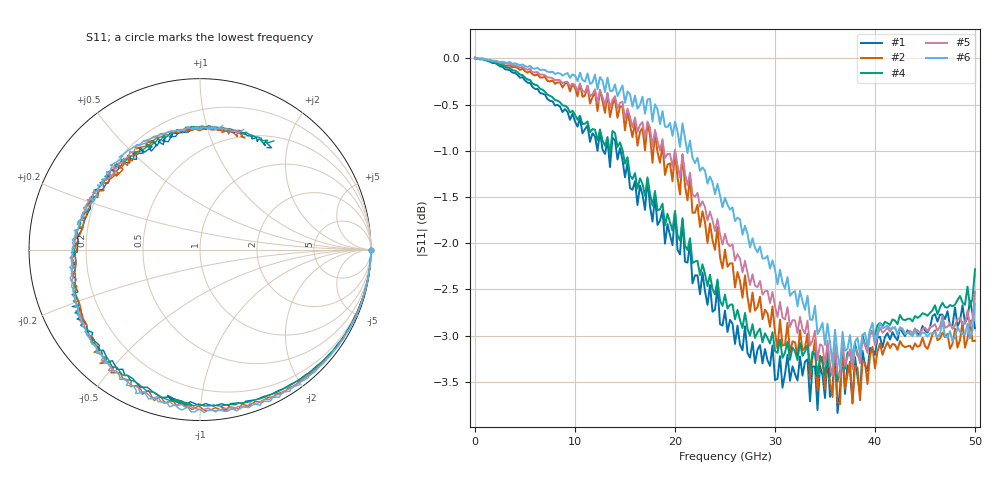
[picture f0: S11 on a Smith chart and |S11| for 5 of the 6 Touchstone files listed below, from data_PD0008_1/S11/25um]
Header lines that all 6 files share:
!Agilent Technologies,N5227A,US51270434,A.10.00.00
!Agilent N5227A: A.10.00.00
!Correction: S11(Full 1 Port(1))
!S21(Off)
!S12(Off)
!S22(Off)
!S2P File: Measurements: S11, S21, S12, S22:
# Hz S  dB  R 50
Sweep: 10 MHz to 50 GHz
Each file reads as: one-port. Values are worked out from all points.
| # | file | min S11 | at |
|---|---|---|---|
| 1 | W_-3V.s2p | -3.8 dB | 36.25 GHz |
| 2 | W_-5V.s2p | -3.7 dB | 36.5 GHz |
| 3 | W_-7V.s2p | -3.7 dB | 36.5 GHz |
| 4 | WO_-3V.s2p | -3.5 dB | 36.25 GHz |
| 5 | WO_-5V.s2p | -3.5 dB | 36.5 GHz |
| 6 | WO_-7V.s2p | -3.4 dB | 36.5 GHz |
